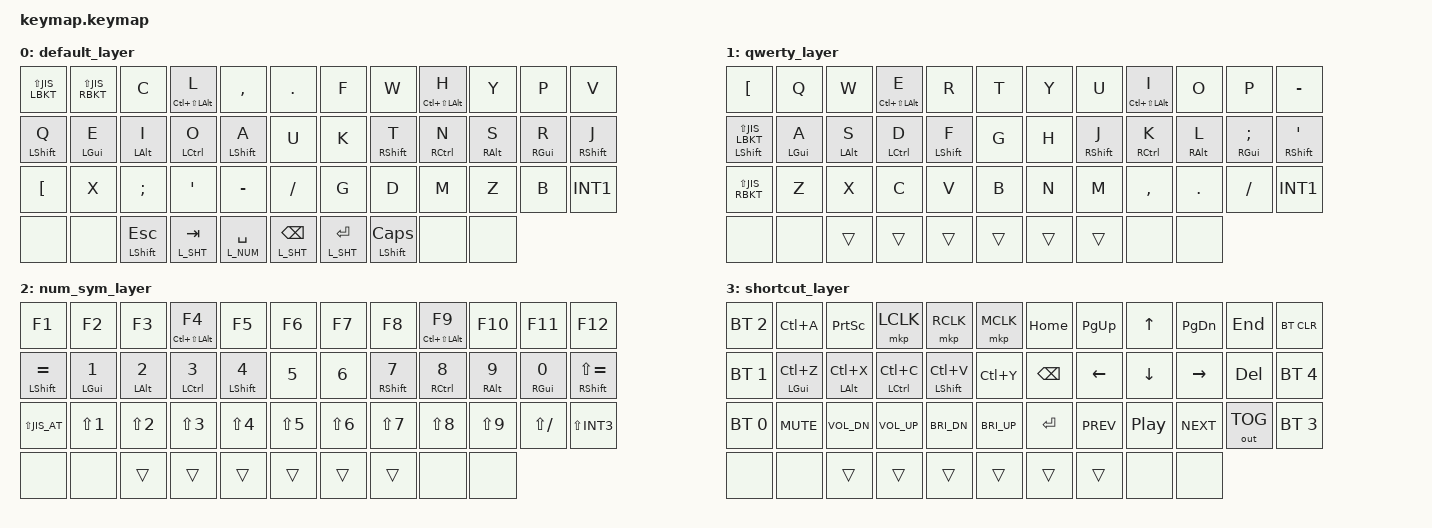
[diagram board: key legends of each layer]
#include <behaviors.dtsi>
#include <dt-bindings/zmk/keys.h>
#include <dt-bindings/zmk/mouse.h>
#include <dt-bindings/zmk/bt.h>
#include <dt-bindings/zmk/outputs.h>

// レイヤー定義
#define L_DEF 0
#define L_QWE 1
#define L_NUM 2
#define L_SHT 3

// --- JIS配列環境用定義 ---
#define JIS_CARET EQUAL
#define JIS_AMPS   LS(N6)
#define JIS_ASTRK LS(SQT)
#define JIS_LPAR  LS(N8)
#define JIS_RPAR  LS(N9)
#define JIS_EQL   LS(MINUS)
#define JIS_PLUS  LS(SEMI)
#define JIS_LT    LS(COMMA)
#define JIS_GT    LS(DOT)
#define JIS_QMARK LS(SLASH)
#define JIS_UNDR  LS(INT1)
#define JIS_PIPE  LS(INT3)
#define JIS_BSLH  INT1
#define JIS_JPYEN  INT3
#define JIS_AT    LBKT
#define JIS_LBKT  RBKT
#define JIS_RBKT  NON_US_HASH
#define JIS_LBRC  LS(RBKT)
#define JIS_RBRC  LS(NON_US_HASH)
#define JIS_COLON SQT
#define JIS_SEMI  SEMI
#define JIS_QUOT  LS(N7)
#define JIS_DQUOT LS(N2)
#define JIS_GRV   LS(LBKT)
#define JIS_TILDE LS(EQUAL)
#define JIS_DLLR  LS(N4)
#define JIS_PRCNT LS(N5)
#define JIS_EXCL  LS(N1)
#define JIS_HASH  LS(N3)

/ {
    behaviors {
        hm: homerow_mods {
            compatible = "zmk,behavior-hold-tap";
            #binding-cells = <2>;
            tapping-term-ms = <280>;
            quick-tap-ms = <175>;
            flavor = "tap-preferred";
            bindings = <&kp>, <&kp>;
            require-prior-idle-ms = <125>;
        };

        ht_combo: ht_combo {
            compatible = "zmk,behavior-hold-tap";
            #binding-cells = <2>;
            flavor = "tap-preferred";
            tapping-term-ms = <200>;
            bindings = <&kp>, <&to>;
        };
    };

    combos {
        compatible = "zmk,combos";

        // 通常Combos（短押しのみ）
        combo_excl  { timeout-ms = <20>; key-positions = <2 3>;   bindings = <&kp JIS_EXCL>; layers = <L_DEF L_QWE>; };
        combo_qmark { timeout-ms = <20>; key-positions = <8 9>;   bindings = <&kp JIS_QMARK>; layers = <L_DEF L_QWE>; };
        combo_lbkt { timeout-ms = <20>; key-positions = <3 16>;  bindings = <&kp JIS_LBKT>; layers = <L_DEF L_QWE>; };
        combo_rbkt { timeout-ms = <20>; key-positions = <19 8>;  bindings = <&kp JIS_RBKT>; layers = <L_DEF L_QWE>; };

        // 短押し=クオート / 長押し=Shift+Alt
        combo_dquot { timeout-ms = <20>; key-positions = <14 16>;  bindings = <&mt RS(RALT) JIS_DQUOT>; layers = <L_DEF L_QWE>; };
        combo_quot { timeout-ms = <20>; key-positions = <19 21>;  bindings = <&mt LS(LALT) JIS_QUOT>; layers = <L_DEF L_QWE>; };

        // 短押し=LANG / 長押し=Ctrl+Alt
        combo_lang1 { timeout-ms = <30>; key-positions = <20 21>; bindings = <&mt RC(RALT) LANG1>; layers = <L_DEF L_QWE>; };
        combo_lang2 { timeout-ms = <30>; key-positions = <14 15>; bindings = <&mt LC(LALT) LANG2>; layers = <L_DEF L_QWE>; };

        // 短押し=レイヤー切り替え / 長押し=Ctrl+Shift+Alt
        combo_to_def    { timeout-ms = <20>; key-positions = <19 20 21>; bindings = <&ht_combo RC(RS(RALT)) L_DEF>; layers = <L_QWE>; };
        combo_to_qwerty { timeout-ms = <20>; key-positions = <14 15 16>; bindings = <&ht_combo LC(LS(LALT)) L_QWE>; layers = <L_DEF>; };

        // 短押し=カッコ / 長押し=Ctrl+Shift
        combo_lpar { timeout-ms = <20>; key-positions = <15 16>; bindings = <&mt LC(LSHIFT) JIS_LPAR>; layers = <L_DEF L_QWE>; };
        combo_rpar { timeout-ms = <20>; key-positions = <19 20>; bindings = <&mt RC(RSHIFT) JIS_RPAR>; layers = <L_DEF L_QWE>; };
    };

    keymap {
        compatible = "zmk,keymap";

        default_layer {
            bindings = <
&kp LS(JIS_LBKT)  &kp LS(JIS_RBKT)  &kp C          &hm LC(LS(LALT)) L  &kp COMMA        &kp DOT          &kp F           &kp W           &hm LC(LS(LALT)) H  &kp Y       &kp P       &kp V
&hm LSHFT Q       &hm LGUI E        &hm LALT I     &hm LCTRL O         &hm LSHFT A      &kp U            &kp K           &hm RSHFT T     &hm RCTRL N         &hm RALT S  &hm RGUI R  &hm RSHFT J
&kp JIS_AT        &kp X             &kp JIS_SEMI   &kp JIS_COLON       &kp MINUS        &kp SLASH        &kp G           &kp D           &kp M               &kp Z       &kp B       &kp JIS_BSLH
&none             &none             &hm LSHFT ESC  &lt L_SHT TAB       &lt L_NUM SPACE  &lt L_SHT BSPC   &lt L_SHT RET   &hm LSHFT CAPS  &none               &none
            >;
        };

        qwerty_layer {
            bindings = <
&kp JIS_AT              &kp Q       &kp W       &hm LC(LS(LALT)) E  &kp R        &kp T   &kp Y   &kp U        &hm LC(LS(LALT)) I  &kp O       &kp P              &kp MINUS
&hm LSHFT LS(JIS_LBKT)  &hm LGUI A  &hm LALT S  &hm LCTRL D         &hm LSHFT F  &kp G   &kp H   &hm RSHFT J  &hm RCTRL K         &hm RALT L  &hm RGUI JIS_SEMI  &hm RSHFT JIS_COLON
&kp LS(JIS_RBKT)        &kp Z       &kp X       &kp C               &kp V        &kp B   &kp N   &kp M        &kp COMMA           &kp DOT     &kp SLASH          &kp JIS_BSLH
&none                   &none       &trans      &trans              &trans       &trans  &trans  &trans       &none               &none
            >;
        };

        num_sym_layer {
            bindings = <
&kp F1               &kp F2        &kp F3         &hm LC(LS(LALT)) F4  &kp F5        &kp F6          &kp F7         &kp F8        &hm LC(LS(LALT)) F9  &kp F10       &kp F11        &kp F12
&hm LSHFT JIS_CARET  &hm LGUI N1   &hm LALT N2    &hm LCTRL N3          &hm LSHFT N4  &kp N5          &kp N6         &hm RSHFT N7  &hm RCTRL N8          &hm RALT N9   &hm RGUI N0    &hm RSHFT JIS_TILDE
&kp LS(JIS_AT)       &kp JIS_EXCL  &kp JIS_DQUOT  &kp JIS_HASH          &kp JIS_DLLR  &kp JIS_PRCNT   &kp JIS_AMPS   &kp JIS_QUOT  &kp JIS_LPAR          &kp JIS_RPAR  &kp JIS_QMARK  &kp JIS_PIPE
&none                &none         &trans         &trans                &trans        &trans          &trans         &trans        &none                 &none
            >;
        };

        shortcut_layer {
            bindings = <
&bt BT_SEL 2  &kp LC(A)       &kp PSCRN       &mkp LCLK        &mkp RCLK        &mkp MCLK     &kp HOME  &kp PG_UP   &kp UP     &kp PG_DN   &kp END       &bt BT_CLR
&bt BT_SEL 1  &hm LGUI LC(Z)  &hm LALT LC(X)  &hm LCTRL LC(C)  &hm LSHFT LC(V)  &kp LC(Y)     &kp BSPC  &kp LEFT    &kp DOWN   &kp RIGHT   &kp DEL       &bt BT_SEL 4
&bt BT_SEL 0  &kp C_MUTE      &kp C_VOL_DN    &kp C_VOL_UP     &kp C_BRI_DN     &kp C_BRI_UP  &kp RET   &kp C_PREV  &kp C_PP   &kp C_NEXT  &out OUT_TOG  &bt BT_SEL 3
&none         &none           &trans          &trans           &trans           &trans        &trans    &trans      &none      &none
            >;
        };
    };
};
